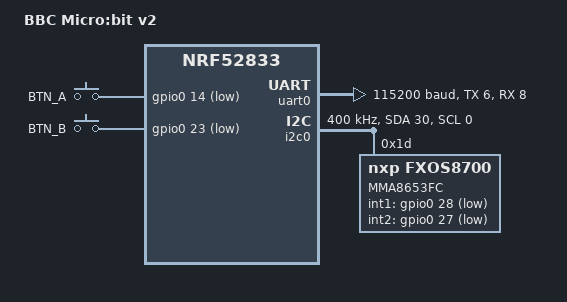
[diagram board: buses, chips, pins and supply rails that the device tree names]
/*
 * Copyright (c) 2017 Linaro Limited
 *
 * SPDX-License-Identifier: Apache-2.0
 */

/dts-v1/;
#include <nordic/nrf52833_qiaa.dtsi>

/ {
	model = "BBC Micro:bit v2";
	compatible = "bbc,microbitv2";

	/* These aliases are provided for compatibility with samples */
	aliases {
		sw0 = &buttonA;
		sw1 = &buttonB;
	};

	chosen {
		zephyr,console = &uart0;
		zephyr,shell-uart = &uart0;
		zephyr,bt-mon-uart = &uart0;
		zephyr,bt-c2h-uart = &uart0;
		zephyr,uart-mcumgr = &uart0;
		zephyr,sram = &sram0;
		zephyr,flash = &flash0;
		zephyr,code-partition = &slot0_partition;
	};

	gpio_keys {
		compatible = "gpio-keys";
		buttonA: button_0 {
			label = "BTN_A";
			gpios = <&gpio0 14 GPIO_ACTIVE_LOW>;
		};

		buttonB: button_1 {
			label = "BTN_B";
			gpios = <&gpio0 23 GPIO_ACTIVE_LOW>;
		};
	};

};

&gpiote {
	status = "okay";
};

&gpio0 {
	status = "okay";
};

&uart0 {
	compatible = "nordic,nrf-uarte";
	status = "okay";
	current-speed = <115200>;
	tx-pin = <6>;
	rx-pin = <8>;
};

&i2c0 {
	compatible = "nordic,nrf-twi";
	status = "okay";
	clock-frequency = <I2C_BITRATE_FAST>;
	sda-pin = <30>;
	scl-pin = <0>;

	/* See https://tech.microbit.org/hardware/i2c/ for board variants */

	/* v1.3 MMA8653FC (= FXOS8700) + MAG3110 */
	mma8653fc@1d {
		compatible = "nxp,fxos8700", "nxp,mma8653fc";
		status = "okay";
		reg = <0x1d>;
		label = "MMA8653FC";
		int1-gpios = <&gpio0 28 GPIO_ACTIVE_LOW>;
		int2-gpios = <&gpio0 27 GPIO_ACTIVE_LOW>;
	};

	/* v1.5 variant 1 LSM303AGR */
	lsm303agr-magn@1e {
		compatible = "st,lis2mdl", "st,lsm303agr-magn";
		status = "disabled";
		reg = <0x1e>;
		label = "LSM303AGR-MAGN";
		irq-gpios = <&gpio0 27 GPIO_ACTIVE_HIGH>;	/* A3 */
	};

	lsm303agr-accel@19 {
		compatible = "st,lis2dh", "st,lsm303agr-accel";
		status = "disabled";
		reg = <0x19>;
		label = "LSM303AGR-ACCEL";
		irq-gpios = <&gpio0 28 GPIO_ACTIVE_HIGH>;
	};
};

&flash0 {

	partitions {
		compatible = "fixed-partitions";
		#address-cells = <1>;
		#size-cells = <1>;

		boot_partition: partition@0 {
			label = "mcuboot";
			reg = <0x000000000 0xC000>;
		};
		slot0_partition: partition@c000 {
			label = "image-0";
			reg = <0x0000C000 0x32000>;
		};
		slot1_partition: partition@3e000 {
			label = "image-1";
			reg = <0x0003E000 0x32000>;
		};
		scratch_partition: partition@70000 {
			label = "image-scratch";
			reg = <0x00070000 0xA000>;
		};
		storage_partition: partition@7a000 {
			label = "storage";
			reg = <0x0007A000 0x00006000>;
		};
	};
};
